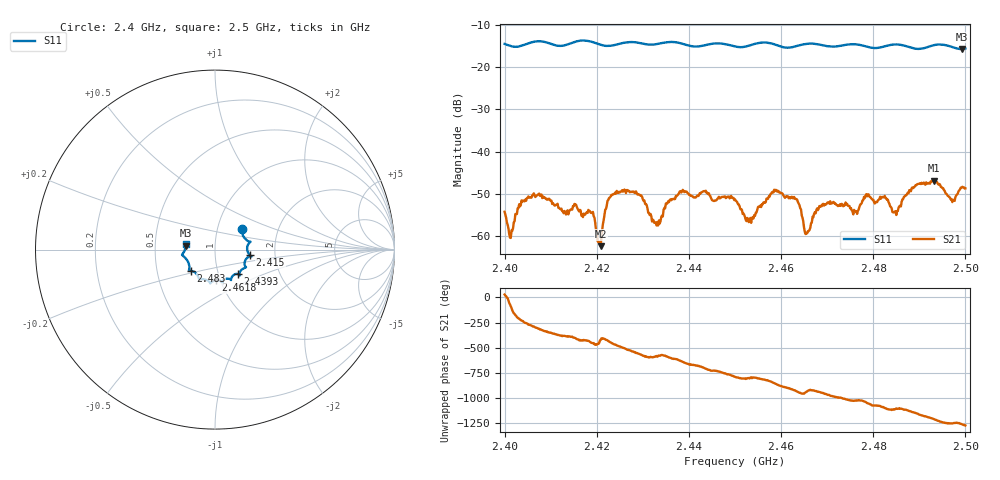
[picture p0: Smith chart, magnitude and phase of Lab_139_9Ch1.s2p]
# Hz S RI R 50
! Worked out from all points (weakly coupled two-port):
!   601 points, 2.4 GHz to 2.5 GHz, reference 50 ohm
!   highest |S21| = -46.85 dB at 2.4932 GHz (marker M1); lowest = -62.4 dB at 2.4208 GHz (marker M2)
!   lowest |S11| = -15.7 dB at 2.4993 GHz (marker M3), VSWR 1.39, Z = 36 + j1.56 ohm
!   |S11| at or under -10 dB: start of sweep to end of sweep
!   S12 and S22 are empty: the file has one direction only
!   S11 on the Smith chart (normalised r, x): 2.4 GHz: 1.31, +0.31; 2.415 GHz: 1.48, -0.10; 2.4393 GHz: 1.23, -0.35; 2.4618 GHz: 0.95, -0.33; 2.483 GHz: 0.74, -0.18; 2.5 GHz: 0.72, +0.05
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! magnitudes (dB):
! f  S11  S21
! 2.4 GHz  -14.5  -54.2
! 2.4013 GHz  -15.0  -60.4
! 2.406 GHz  -14.1  -50.3
! 2.415 GHz  -14.1  -52.9
! 2.4167 GHz  -13.7  -55.2
! 2.4208 GHz  -14.7  -62.4
! 2.4227 GHz  -15.0  -51.0
! 2.4257 GHz  -14.3  -49.5
! 2.4333 GHz  -14.4  -57.5
! 2.4393 GHz  -14.7  -49.5
! 2.45 GHz  -15.1  -51.3
! 2.453 GHz  -14.9  -56.7
! 2.4585 GHz  -14.6  -49.0
! 2.4618 GHz  -15.3  -50.8
! 2.4655 GHz  -14.5  -59.2
! 2.4667 GHz  -14.4  -56.8
! 2.483 GHz  -14.9  -51.4
! 2.4833 GHz  -14.8  -52.0
! 2.4932 GHz  -14.8  -46.9
! 2.4972 GHz  -15.2  -52.0
! 2.4993 GHz  -15.7  -48.3
! 2.5 GHz  -15.6  -48.7
